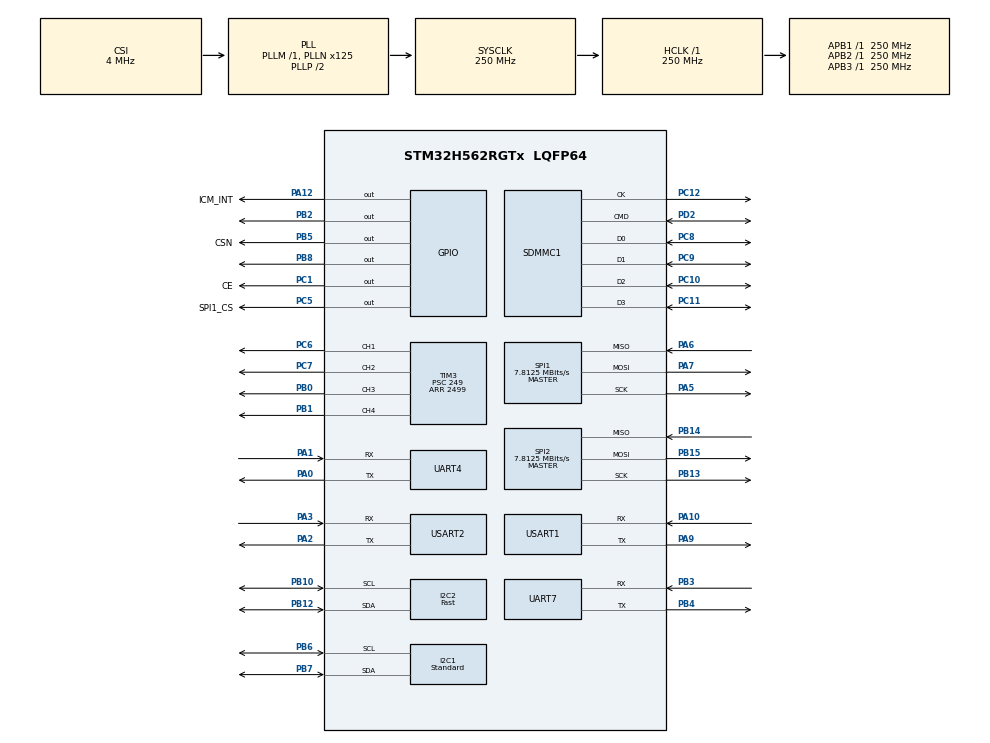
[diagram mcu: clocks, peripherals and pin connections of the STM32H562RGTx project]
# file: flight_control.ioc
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BOOTPATH.BootPathName=LEGACY
BOOTPATH.UserSelectedBootPath=LEGACY
CORTEX_M33_NS.userName=CORTEX_M33
FILEX.FX_DRIVER_SDMMC_INIT=0
FILEX.FX_ENABLE_EXFAT=1
FILEX.FX_SD_INTERFACE=1
GPDMA1.DESTINC_GPDMACH0=DMA_DINC_INCREMENTED
GPDMA1.DESTINC_GPDMACH1=DMA_DINC_INCREMENTED
GPDMA1.DESTINC_GPDMACH2=DMA_DINC_INCREMENTED
GPDMA1.IPHANDLE_GPDMACH0-SIMPLEREQUEST_GPDMACH0=__NULL
GPDMA1.IPHANDLE_GPDMACH1-SIMPLEREQUEST_GPDMACH1=__NULL
GPDMA1.IPHANDLE_GPDMACH2-SIMPLEREQUEST_GPDMACH2=__NULL
GPDMA1.PRIORITY_GPDMACH0=DMA_LOW_PRIORITY_MID_WEIGHT
GPDMA1.PRIORITY_GPDMACH2=DMA_LOW_PRIORITY_MID_WEIGHT
GPDMA1.RECAP_GPDMACH0=GPDMA1_REQUEST_USART1_RX
GPDMA1.REQUEST_GPDMACH0=GPDMA1_REQUEST_USART1_RX
GPDMA1.REQUEST_GPDMACH1=GPDMA1_REQUEST_UART7_RX
GPDMA1.REQUEST_GPDMACH2=GPDMA1_REQUEST_USART2_RX
GPDMA2.DESTINC_GPDMACH0=DMA_DINC_INCREMENTED
GPDMA2.DIRECTION_GPDMACH0=DMA_PERIPH_TO_MEMORY
GPDMA2.DIRECTION_GPDMACH1=DMA_MEMORY_TO_PERIPH
GPDMA2.IPHANDLE_GPDMACH0-SIMPLEREQUEST_GPDMACH0=__NULL
GPDMA2.IPHANDLE_GPDMACH1-SIMPLEREQUEST_GPDMACH1=__NULL
GPDMA2.REQUEST_GPDMACH0=GPDMA2_REQUEST_I2C1_RX
GPDMA2.REQUEST_GPDMACH1=GPDMA2_REQUEST_UART7_TX
GPDMA2.SRCINC_GPDMACH0=DMA_SINC_FIXED
GPDMA2.SRCINC_GPDMACH1=DMA_SINC_INCREMENTED
I2C1.I2C_Speed_Mode=I2C_Standard
I2C1.Timing=0x60808CD3
I2C2.I2C_Speed_Mode=I2C_Fast
I2C2.Timing=0x00300F38
Mcu.Family=STM32H5
Mcu.Name=STM32H562RGTx
Mcu.Package=LQFP64
NVIC.GPDMA1_Channel0_IRQn=true\:0\:0\:false\:false\:true\:false\:true\:true
NVIC.GPDMA1_Channel1_IRQn=true\:0\:0\:false\:false\:true\:false\:true\:true
NVIC.GPDMA1_Channel2_IRQn=true\:0\:0\:false\:false\:true\:false\:true\:true
NVIC.GPDMA2_Channel0_IRQn=true\:0\:0\:false\:false\:true\:false\:true\:true
NVIC.GPDMA2_Channel1_IRQn=true\:0\:0\:false\:false\:true\:false\:true\:true
NVIC.I2C1_ER_IRQn=true\:0\:0\:false\:false\:true\:true\:true\:true
NVIC.I2C1_EV_IRQn=true\:0\:0\:false\:false\:true\:true\:true\:true
NVIC.PriorityGroup=NVIC_PRIORITYGROUP_4
NVIC.SDMMC1_IRQn=true\:0\:0\:false\:false\:true\:true\:true\:true
NVIC.TIM6_IRQn=true\:0\:0\:false\:false\:true\:true\:true\:true
NVIC.UART4_IRQn=true\:0\:0\:false\:false\:true\:true\:true\:true
NVIC.UART7_IRQn=true\:0\:0\:false\:false\:true\:true\:true\:true
NVIC.USART1_IRQn=true\:0\:0\:false\:false\:true\:true\:true\:true
NVIC.USART2_IRQn=true\:0\:0\:false\:false\:true\:true\:true\:true
PA0.Mode=Asynchronous
PA0.Signal=UART4_TX
PA1.Mode=Asynchronous
PA1.Signal=UART4_RX
PA10.Mode=Asynchronous
PA10.Signal=USART1_RX
PA12.GPIO_Label=ICM_INT
PA12.Signal=GPIO_Output
PA2.Mode=Asynchronous
PA2.Signal=USART2_TX
PA3.Mode=Asynchronous
PA3.Signal=USART2_RX
PA5.GPIO_Speed=GPIO_SPEED_FREQ_VERY_HIGH
PA5.Mode=Full_Duplex_Master
PA5.Signal=SPI1_SCK
PA6.GPIO_PuPd=GPIO_PULLUP
PA6.GPIO_Speed=GPIO_SPEED_FREQ_VERY_HIGH
PA6.Mode=Full_Duplex_Master
PA6.Signal=SPI1_MISO
PA7.GPIO_Speed=GPIO_SPEED_FREQ_VERY_HIGH
PA7.Mode=Full_Duplex_Master
PA7.Signal=SPI1_MOSI
PA9.Mode=Asynchronous
PA9.Signal=USART1_TX
PB0.Signal=S_TIM3_CH3
PB1.Signal=S_TIM3_CH4
PB10.Mode=I2C
PB10.Signal=I2C2_SCL
PB12.Mode=I2C
PB12.Signal=I2C2_SDA
PB13.GPIO_Speed=GPIO_SPEED_FREQ_VERY_HIGH
PB13.Mode=Full_Duplex_Master
PB13.Signal=SPI2_SCK
PB14.GPIO_Speed=GPIO_SPEED_FREQ_VERY_HIGH
PB14.Mode=Full_Duplex_Master
PB14.Signal=SPI2_MISO
PB15.GPIO_Speed=GPIO_SPEED_FREQ_VERY_HIGH
PB15.Mode=Full_Duplex_Master
PB15.Signal=SPI2_MOSI
PB2.Signal=GPIO_Output
PB3(JTDO/TRACESWO).Mode=Asynchronous
PB3(JTDO/TRACESWO).Signal=UART7_RX
PB4(NJTRST).Mode=Asynchronous
PB4(NJTRST).Signal=UART7_TX
PB5.GPIO_Label=CSN
PB5.Signal=GPIO_Output
PB6.Mode=I2C
PB6.Signal=I2C1_SCL
PB7.Mode=I2C
PB7.Signal=I2C1_SDA
PB8.Signal=GPIO_Output
PC1.GPIO_Label=CE
PC1.Signal=GPIO_Output
PC10.Mode=SD_4_bits_Wide_bus
PC10.Signal=SDMMC1_D2
PC11.Mode=SD_4_bits_Wide_bus
PC11.Signal=SDMMC1_D3
PC12.Mode=SD_4_bits_Wide_bus
PC12.Signal=SDMMC1_CK
PC5.GPIO_Label=SPI1_CS
PC5.Signal=GPIO_Output
PC6.Signal=S_TIM3_CH1
PC7.Signal=S_TIM3_CH2
PC8.Mode=SD_4_bits_Wide_bus
PC8.Signal=SDMMC1_D0
PC9.Mode=SD_4_bits_Wide_bus
PC9.Signal=SDMMC1_D1
PD2.Mode=SD_4_bits_Wide_bus
PD2.Signal=SDMMC1_CMD
PH0-OSC_IN(PH0).Mode=HSE-External-Oscillator
PH0-OSC_IN(PH0).Signal=RCC_OSC_IN
PH1-OSC_OUT(PH1).Mode=HSE-External-Oscillator
PH1-OSC_OUT(PH1).Signal=RCC_OSC_OUT
ProjectManager.HeapSize=0x200
ProjectManager.StackSize=0x400
ProjectManager.TargetToolchain=STM32CubeIDE
RCC.ADCFreq_Value=250000000
RCC.AHBFreq_Value=250000000
RCC.APB1Freq_Value=250000000
RCC.APB1TimFreq_Value=250000000
RCC.APB2Freq_Value=250000000
RCC.APB2TimFreq_Value=250000000
RCC.APB3Freq_Value=250000000
RCC.CSI_VALUE=4000000
RCC.CortexFreq_Value=250000000
RCC.EPOD_VALUE=4000000
RCC.HCLKFreq_Value=250000000
RCC.HSE_VALUE=25000000
RCC.HSI48_VALUE=48000000
RCC.HSI_VALUE=64000000
RCC.I2C2CLockSelection=RCC_I2C2CLKSOURCE_HSI
RCC.LSE_VALUE=32768
RCC.LSIRC_VALUE=32000
RCC.PLL1Q=4
RCC.PLL2FRACN=0
RCC.PLL3FRACN=0
RCC.PLLFRACN=0
RCC.PLLN=125
RCC.SYSCLKFreq_VALUE=250000000
RCC.SYSCLKSource=RCC_SYSCLKSOURCE_PLLCLK
RCC.USBFreq_Value=48000000
RCC.VCOOutputFreq_Value=500000000
SH.S_TIM3_CH1.0=TIM3_CH1,PWM Generation1 CH1
SH.S_TIM3_CH2.0=TIM3_CH2,PWM Generation2 CH2
SH.S_TIM3_CH3.0=TIM3_CH3,PWM Generation3 CH3
SH.S_TIM3_CH4.0=TIM3_CH4,PWM Generation4 CH4
SPI1.BaudRatePrescaler=SPI_BAUDRATEPRESCALER_16
SPI1.CLKPhase=SPI_PHASE_1EDGE
SPI1.CalculateBaudRate=7.8125 MBits/s
SPI1.DataSize=SPI_DATASIZE_8BIT
SPI1.Direction=SPI_DIRECTION_2LINES
SPI1.Mode=SPI_MODE_MASTER
SPI1.NSSPMode=SPI_NSS_PULSE_DISABLE
SPI1.VirtualType=VM_MASTER
SPI2.BaudRatePrescaler=SPI_BAUDRATEPRESCALER_16
SPI2.CalculateBaudRate=7.8125 MBits/s
SPI2.DataSize=SPI_DATASIZE_8BIT
SPI2.Direction=SPI_DIRECTION_2LINES
SPI2.Mode=SPI_MODE_MASTER
SPI2.NSSPMode=SPI_NSS_PULSE_DISABLE
SPI2.VirtualType=VM_MASTER
TIM3.AutoReloadPreload=TIM_AUTORELOAD_PRELOAD_ENABLE
TIM3.Channel-PWM\ Generation1\ CH1=TIM_CHANNEL_1
TIM3.Channel-PWM\ Generation2\ CH2=TIM_CHANNEL_2
TIM3.Channel-PWM\ Generation3\ CH3=TIM_CHANNEL_3
TIM3.Channel-PWM\ Generation4\ CH4=TIM_CHANNEL_4
TIM3.OCFastMode_PWM-PWM\ Generation2\ CH2=TIM_OCFAST_DISABLE
TIM3.PeriodNoDither=2499
TIM3.Prescaler=249
TIM3.PulseNoDither_1=1000
TIM3.PulseNoDither_2=1000
TIM3.PulseNoDither_3=1000
TIM3.PulseNoDither_4=1000
TIM6.AutoReloadPreload=TIM_AUTORELOAD_PRELOAD_DISABLE
TIM6.PeriodNoDither=1999
TIM6.Prescaler=249
USART1.VirtualMode-Asynchronous=VM_ASYNC
USART2.VirtualMode-Asynchronous=VM_ASYNC
VP_BOOTPATH_VS_BOOTPATH.Mode=BP_Activate
VP_CORTEX_M33_NS_VS_Hclk.Mode=Hclk_Mode
VP_FILEX_VS_FileOoSystemJjFileXJjCore.Mode=FileX_Core
VP_FILEX_VS_SDOointerface.Mode=SD_interface
VP_GPDMA1_VS_GPDMACH0.Mode=SIMPLEREQUEST_GPDMACH0
VP_GPDMA1_VS_GPDMACH1.Mode=SIMPLEREQUEST_GPDMACH1
VP_GPDMA1_VS_GPDMACH2.Mode=SIMPLEREQUEST_GPDMACH2
VP_GPDMA2_VS_GPDMACH0.Mode=SIMPLEREQUEST_GPDMACH0
VP_GPDMA2_VS_GPDMACH1.Mode=SIMPLEREQUEST_GPDMACH1
VP_ICACHE_VS_ICACHE.Mode=DefaultMode
VP_MEMORYMAP_VS_MEMORYMAP.Mode=CurAppReg
VP_PWR_VS_LPOM.Mode=PowerOptimisation
VP_PWR_VS_SECSignals.Mode=Security/Privilege
VP_TIM3_VS_ClockSourceINT.Mode=Internal
VP_TIM6_VS_ClockSourceINT.Mode=Enable_Timer
board=custom

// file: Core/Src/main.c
/* USER CODE BEGIN Header */
/**
 ******************************************************************************
 * @file           : main.c
 * @brief          : Main program body
 ******************************************************************************
 * @attention
 *
 * Copyright (c) 2026 STMicroelectronics.
 * All rights reserved.
 *
 * This software is licensed under terms that can be found in the LICENSE file
 * in the root directory of this software component.
 * If no LICENSE file comes with this software, it is provided AS-IS.
 *
 *
 * ======Body frame of DRONE========
 *
 *           +X (Front)
 ↑
 │
 -Y (Left) ◄──┼──► +Y (Right)
 │
 ▼
 Rear
 *
 *===== AXis of Optical Flow====
 *          Front
 ↑
 │
 Vy <0 │
 │
 Left ◄──────┼──────► Right
 Vx <0  │        Vx >0
 │
 Vy >0 │
 ▼
 Rear
 ******************************************************************************
 */
/* USER CODE END Header */
#include "main.h"
#include "app_filex.h"

/* USER CODE BEGIN Includes */
#include "types.h"
#include "flight_control.h"
#include "pos_hold.h"
#include "nrf.h"
#include "icm20602.h"
#include "dsp310.h"
#include "ina219.h"
#include "mtf01.h"
#include "gps.h"
#include "mission.h"
#include "dwt.h"
#include "serial.h"
#include "uart_cmd.h"
#include "log.h"
#include <stdio.h>
#include <string.h>
#include <stdbool.h>

/* USER CODE END Includes */

/* USER CODE BEGIN PD */
//#define USE_QMC5883
#define USE_IST8310
/* USER CODE END PD */

I2C_HandleTypeDef hi2c1;
I2C_HandleTypeDef hi2c2;
DMA_HandleTypeDef handle_GPDMA2_Channel0;

SD_HandleTypeDef hsd1;

SPI_HandleTypeDef hspi1;
SPI_HandleTypeDef hspi2;

TIM_HandleTypeDef htim3;
TIM_HandleTypeDef htim6;

UART_HandleTypeDef huart4;
UART_HandleTypeDef huart7;
UART_HandleTypeDef huart1;
UART_HandleTypeDef huart2;
DMA_HandleTypeDef handle_GPDMA1_Channel1;
DMA_HandleTypeDef handle_GPDMA2_Channel1;
DMA_HandleTypeDef handle_GPDMA1_Channel0;
DMA_HandleTypeDef handle_GPDMA1_Channel2;

void SystemClock_Config(void);
static void MX_GPIO_Init(void);
static void MX_GPDMA1_Init(void);
static void MX_GPDMA2_Init(void);
static void MX_TIM3_Init(void);
static void MX_I2C1_Init(void);
static void MX_I2C2_Init(void);
static void MX_SPI1_Init(void);
static void MX_UART4_Init(void);
static void MX_USART1_UART_Init(void);
static void MX_USART2_UART_Init(void);
static void MX_ICACHE_Init(void);
static void MX_UART7_Init(void);
static void MX_TIM6_Init(void);
static void MX_SPI2_Init(void);
static void MX_SDMMC1_SD_Init(void);

/* USER CODE BEGIN 0 */

uint8_t address[5] = { '0', '0', '0', '0', '1' };

GPS_Data_t gps;
MTF01_t mtf_data;
uint8_t mtf01_updated = 0;
uint8_t rx_mission_buffer[MISSION_BUFFER_SIZE];
volatile uint8_t pid_flag = 0;
FlightLogData_t log_data;

void HAL_UART_RxCpltCallback(UART_HandleTypeDef *huart) {
	if (huart->Instance == UART7) {
		UART_CMD_Process(&huart7);
//		GPS_UART_RxCallback(&huart1);
	}

//	if (huart->Instance == USART2) {
//		MTF01_Process(&huart2);
//	}

//	GPS_UART_RxCallback(&huart1);
//	if (huart->Instance == USART1) {
//		// CHÌA KHÓA Ở ĐÂY: Chỉ cho phép lưu data khi mảng đang rảnh (line_ready == 0)
//		if (line_ready == 0) {
//			raw_gps_buffer[raw_index++] = rx_byte;
//
//			// Nếu gặp ký tự xuống dòng hoặc mảng sắp tràn
//			if (rx_byte == '\n' || raw_index >= 119) {
//				raw_gps_buffer[raw_index] = '\0'; // Chốt chuỗi
//				line_ready = 1;             // Khóa mảng lại, báo cho main xử lý
//			}
//		}
//
//		// Vẫn phải mồi lại ngắt (dù có lưu vào mảng hay không) để tránh ORE
//		HAL_UART_Receive_IT(&huart1, &rx_byte, 1);
//	}
}
// Hàm Callback mặc định của HAL cho sự kiện Receive To IDLE
void HAL_UARTEx_RxEventCallback(UART_HandleTypeDef *huart, uint16_t Size) {
	// Đẩy sự kiện sang cho hàm xử lý của ta bên file gps.c
	GPS_UART_RxEventCallback(huart, Size);
	if (huart->Instance == USART2) {
		MTF01_UART_RxEventCallback(huart, Size);
	}

	if (huart->Instance == UART7) {
		// Gọi trực tiếp hàm xử lý đã đóng gói trong mission.c
		Mission_UartRxHandler(huart, Size);
	}
}

void HAL_UART_ErrorCallback(UART_HandleTypeDef *huart) {
	// Kiểm tra xem lỗi có xuất phát từ UART của GPS không
	GPS_UART_ErrorCallback(huart);
	MTF01_UART_ErrorCallback(huart);
	Mission_UART_ErrorCallback(huart);
}

void HAL_TIM_PeriodElapsedCallback(TIM_HandleTypeDef *htim) {
	if (htim->Instance == TIM6) {
		pid_flag = 1;
	}

}

// Callback khi nhận thành công qua I2C Interrupt
void HAL_I2C_MemRxCpltCallback(I2C_HandleTypeDef *hi2c) {
	DSP310_I2C_MemRxCpltCallback(hi2c);
}

// Hàm cực kỳ quan trọng để chống giật/rơi máy bay khi lỏng dây
void HAL_I2C_ErrorCallback(I2C_HandleTypeDef *hi2c) {
	// Nếu có lỗi (như lỏng dây, mất ACK), ta reset lại khối I2C đó
//	HAL_I2C_DeInit(hi2c);
//	HAL_I2C_Init(hi2c);
	DSP310_I2C_ErrorCallback(hi2c);
}

// ================= TEST SD CARD =====
UINT Test_SDCard_Write(void) {
	UINT status;
	static FX_MEDIA sdio_disk;
	static FX_FILE my_file;
	HAL_SD_CardInfoTypeDef CardInfo;

	// Bộ đệm cho FileX Media (căn lề 32 bytes cho Cortex-M)
	ALIGN_32BYTES(static uint8_t media_memory[FX_STM32_SD_DEFAULT_SECTOR_SIZE]);

	// Bật ngắt SDMMC1
	HAL_NVIC_SetPriority(SDMMC1_IRQn, 5, 0);
	HAL_NVIC_EnableIRQ(SDMMC1_IRQn);

	Serial_printf(&huart1, "\r\n[SD] Bat dau kiem tra the microSD...\r\n");

	// 0. Kiểm tra thông tin phần cứng thẻ nhớ
	if (HAL_SD_GetCardInfo(&hsd1, &CardInfo) == HAL_OK) {
		uint32_t capacity_mb = (uint32_t) ((uint64_t) CardInfo.BlockNbr
				* CardInfo.BlockSize / (1024 * 1024));
		Serial_printf(&huart1,
				"[SD HW] Nhan the thanh cong! Dung luong: %lu MB, BlockNbr: %lu\r\n",
				capacity_mb, CardInfo.BlockNbr);
	} else {
		Serial_printf(&huart1, "[SD HW ERROR] Khong lay duoc CardInfo!\r\n");
		return 1;
	}

	// 1. Mở thẻ nhớ
	status = fx_media_open(&sdio_disk, "STM32_SD_DISK", fx_stm32_sd_driver,
			(VOID *)FX_STM32_SD_INSTANCE, media_memory, sizeof(media_memory));

	if (status != FX_SUCCESS) {
		Serial_printf(&huart1,
				"[SD ERROR] fx_media_open that bai! Ma loi: 0x%02X\r\n",
				status);
		return status;
	}
	Serial_printf(&huart1, "[SD] fx_media_open thanh cong!\r\n");

	// 2. Tạo file test.txt
	status = fx_file_create(&sdio_disk, "test.txt");
	if (status != FX_SUCCESS && status != FX_ALREADY_CREATED) {
		Serial_printf(&huart1,
				"[SD ERROR] fx_file_create that bai! Ma loi: 0x%02X\r\n",
				status);
		fx_media_close(&sdio_disk);
		return status;
	}

	// 3. Mở file để ghi
	status = fx_file_open(&sdio_disk, &my_file, "test.txt", FX_OPEN_FOR_WRITE);
	if (status != FX_SUCCESS) {
		Serial_printf(&huart1,
				"[SD ERROR] fx_file_open that bai! Ma loi: 0x%02X\r\n", status);
		fx_media_close(&sdio_disk);
		return status;
	}

	// Di chuyển con trỏ xuống cuối file
	fx_file_seek(&my_file, my_file.fx_file_current_file_size);

	// 4. Ghi dữ liệu
	char write_buf[] =
			"Hello STM32H5! Ghi file vao the nho qua FileX thanh cong!\r\n";
	status = fx_file_write(&my_file, write_buf, strlen(write_buf));
	if (status != FX_SUCCESS) {
		Serial_printf(&huart1,
				"[SD ERROR] fx_file_write that bai! Ma loi: 0x%02X\r\n",
				status);
	} else {
		Serial_printf(&huart1, "[SD OK] Da ghi vao test.txt: %s", write_buf);
	}

	// 5. Đóng file và đẩy dữ liệu xuống chip nhớ
	fx_file_close(&my_file);
	fx_media_flush(&sdio_disk);
	fx_media_close(&sdio_disk);

	Serial_printf(&huart1, "[SD] Hoan tat test!\r\n");
	return status;
}

/* USER CODE END 0 */

int main(void) {

	/* MCU Configuration--------------------------------------------------------*/

	/* Reset of all peripherals, Initializes the Flash interface and the Systick. */
	HAL_Init();

	/* Configure the system clock */
	SystemClock_Config();

	/* Initialize all configured peripherals */
	MX_GPIO_Init();
	MX_GPDMA1_Init();
	MX_GPDMA2_Init();
	MX_TIM3_Init();
	MX_I2C1_Init();
	MX_I2C2_Init();
	MX_SPI1_Init();
	MX_UART4_Init();
	MX_USART1_UART_Init();
	MX_USART2_UART_Init();
	MX_ICACHE_Init();
	MX_UART7_Init();
	MX_TIM6_Init();
	MX_SPI2_Init();
	MX_SDMMC1_SD_Init();
	MX_FileX_Init();
	/* USER CODE BEGIN 2 */
	// TEST SD CARD
	HAL_TIM_PWM_Init(&htim3);
	HAL_TIM_PWM_Start(&htim3, TIM_CHANNEL_1);
	HAL_TIM_PWM_Start(&htim3, TIM_CHANNEL_2);
	HAL_TIM_PWM_Start(&htim3, TIM_CHANNEL_3);
	HAL_TIM_PWM_Start(&htim3, TIM_CHANNEL_4);

	HAL_TIM_Base_Start_IT(&htim6);

	GPS_Init_DMA(&huart1);
	MTF01_Init(&huart2);

	// Khoi tao he thong ghi flight log vao the nho microSD (FAT32)
	Log_Init();

	HAL_I2C_Init(&hi2c1);
	HAL_I2C_Init(&hi2c2);
#ifdef USE_QMC5883
	extern QMC5883_t mag;
	QMC5883_Init(&hi2c2, &mag, 0x00, 0x01, 0x03, 0x01);
#else
	IST8310_Init(&hi2c2, &ist8310);
#endif
	HAL_SPI_Init(&hspi1);
	HAL_SPI_Init(&hspi2);
	ICM_CS_HIGH();
	NRF_CSN_HIGH();
	HAL_Delay(10);

	NRF24_Init();
	NRF24_OpenReadingPipe(0, address);
	NRF24_StartListening();

	HAL_Delay(500);
	DWT_Init();

	ICM20602_Init();
#ifdef USE_QMC5883
	mag.declination = 0;
#endif

	INA219_Init(&hi2c2);

	FlightControl_Init();
	PosHold_Init();

	Mission_UART_Init(&huart7);
	HAL_UARTEx_ReceiveToIdle_DMA(&huart7, rx_mission_buffer,
	MISSION_BUFFER_SIZE);

	if (!DSP310_Init(&dsp_sensor, &hi2c1)) {
		Serial_printf(&huart1, "DSP Init Failed!\r\n");
	} else
		Serial_printf(&huart1, "[OK] DSP Init Successful!\r\n");

	alt_offset = DSP_CalibrationAltitude(10);	// Lấy 10 sample
	// ĐỢI đến khi lấy được 1 mẫu hợp lệ thì mới khởi tạo Kalman
	while (!DSP310_Read(&dsp_sensor)) {
		HAL_Delay(1);
	}
	float h = dsp_sensor.altitude;
	Kalman4D_Init(&kf_4d, (h - alt_offset) * 100);
	Kalman2D_Init(&kf_2d, (h - alt_offset) * 100);

	calibIMU();

	bool yaw_hold_init = false;

	Serial_printf(&huart1, "[WAITING] Waiting pull throttle to 0!\r\n");
	while (1) {
		if (NRF24_Available()) {
			uint8_t len = NRF24_GetDynamicPayloadSize();
			if (len == sizeof(ControlData)) {
				NRF24_Read((uint8_t*) &rxData, len);
				if (rxData.chinhtocdoquat == 1000)
					break;
			}
		}
	}
	uint32_t ina219_timer = 0;
	uint32_t esp_timer = 0;

	HAL_GPIO_WritePin(GPIOB, GPIO_PIN_2, 0);
	Serial_printf(&huart1, "[CALIB] IST8310\r\n");
//	IST8310_Calibrate(&hi2c2, 60000);
	Serial_printf(&huart1, "[OK] START\r\n");
	/* USER CODE END 2 */

	/* Infinite loop */
	while (1) {

		/* USER CODE BEGIN 3 */
		static uint32_t last_start = 0;
		uint32_t start = DWT_GetMicros();
//		float dt_loop = (last_start > 0) ? (float)(start - last_start) : 2000.0f;
//		last_start = start;

		dt = 0.002f;
		RxController();
		if (!yaw_hold_init && throttle > 1100) {
			target_yaw = yaw;
			// home_position = gpsRead();
			yaw_hold_init = true;
		}
		if (throttle < 1030) {
			yaw_hold_init = false;
			target_yaw = yaw;
		}
		if (throttle < 1400) {
			PID_Reset(&PID_Rate_Yaw);
			PID_Reset(&PID_Rate_Pitch);
			PID_Reset(&PID_Rate_Roll);
			PID_Reset(&PID_Angle);
			PID_Reset(&PID_Pos_X);
			PID_Reset(&PID_Pos_Y);
			PID_Reset(&PID_Vel_X);
			PID_Reset(&PID_Vel_Y);
		}
		mtf01_updated = MTF01_Update(&mtf_data);

		GPS_Process(&gps);
		readIMU();
		calculateAngle(dt);
		Estimate_Position_GPS_Kalman(dt);
//		Estimate_Position_Kalman(dt);
//		Estimate_Position(dt);

		PID_Task(dt);
		mixer();
		if (DWT_GetMicros() - ina219_timer > 1000000) {
			float voltage = INA219_Read_Bus_Voltage(&hi2c2);
			if (voltage >= 0.0f) {
				txData.battery = voltage;
			}
			ina219_timer = DWT_GetMicros();
		}
		if (DWT_GetMicros() - esp_timer > 2000000) {
			Mission_SendTelemetry();
			esp_timer = DWT_GetMicros();
		}

		// ================= GHI LOG BENCHMARK VÀO RAM (50 Hz) =================
		static uint8_t log_divider = 0;
		if (++log_divider >= 10) // 500Hz / 10 = 50Hz (20ms/mẫu)
				{
			log_divider = 0;
			log_data.time_ms = HAL_GetTick();
			FLight_Control_Log();
		}

		// Tự động lưu xuống thẻ SD khi hạ cánh (throttle < 1030)
		Log_Check_Auto_Save();
		// =====================================================================

		// In chu kỳ thực tế DT ra Python App (In trước dòng while để thời gian truyền UART được bù trừ trong 2000 us)

		while ((DWT_GetMicros() - start) < 2000)
			;
//		Serial_printf(&huart1, "%f\r\n", DWT_GetMicros() - start);

//		float time = DWT_GetMicros() - start;
//		Serial_printf(&huart1, "%f\r\n", time);
	}
	/* USER CODE END 3 */
}

void SystemClock_Config(void) {
	RCC_OscInitTypeDef RCC_OscInitStruct = { 0 };
	RCC_ClkInitTypeDef RCC_ClkInitStruct = { 0 };

	/** Configure the main internal regulator output voltage
	 */
	__HAL_PWR_VOLTAGESCALING_CONFIG(PWR_REGULATOR_VOLTAGE_SCALE0);

	while (!__HAL_PWR_GET_FLAG(PWR_FLAG_VOSRDY)) {
	}

	/** Initializes the RCC Oscillators according to the specified parameters
	 * in the RCC_OscInitTypeDef structure.
	 */
	RCC_OscInitStruct.OscillatorType = RCC_OSCILLATORTYPE_HSI
			| RCC_OSCILLATORTYPE_CSI;
	RCC_OscInitStruct.HSIState = RCC_HSI_ON;
	RCC_OscInitStruct.HSIDiv = RCC_HSI_DIV2;
	RCC_OscInitStruct.HSICalibrationValue = RCC_HSICALIBRATION_DEFAULT;
	RCC_OscInitStruct.CSIState = RCC_CSI_ON;
	RCC_OscInitStruct.CSICalibrationValue = RCC_CSICALIBRATION_DEFAULT;
	RCC_OscInitStruct.PLL.PLLState = RCC_PLL_ON;
	RCC_OscInitStruct.PLL.PLLSource = RCC_PLL1_SOURCE_CSI;
	RCC_OscInitStruct.PLL.PLLM = 1;
	RCC_OscInitStruct.PLL.PLLN = 125;
	RCC_OscInitStruct.PLL.PLLP = 2;
	RCC_OscInitStruct.PLL.PLLQ = 4;
	RCC_OscInitStruct.PLL.PLLR = 2;
	RCC_OscInitStruct.PLL.PLLRGE = RCC_PLL1_VCIRANGE_2;
	RCC_OscInitStruct.PLL.PLLVCOSEL = RCC_PLL1_VCORANGE_WIDE;
	RCC_OscInitStruct.PLL.PLLFRACN = 0;
	if (HAL_RCC_OscConfig(&RCC_OscInitStruct) != HAL_OK) {
		Error_Handler();
	}

	/** Initializes the CPU, AHB and APB buses clocks
	 */
	RCC_ClkInitStruct.ClockType = RCC_CLOCKTYPE_HCLK | RCC_CLOCKTYPE_SYSCLK
			| RCC_CLOCKTYPE_PCLK1 | RCC_CLOCKTYPE_PCLK2 | RCC_CLOCKTYPE_PCLK3;
	RCC_ClkInitStruct.SYSCLKSource = RCC_SYSCLKSOURCE_PLLCLK;
	RCC_ClkInitStruct.AHBCLKDivider = RCC_SYSCLK_DIV1;
	RCC_ClkInitStruct.APB1CLKDivider = RCC_HCLK_DIV1;
	RCC_ClkInitStruct.APB2CLKDivider = RCC_HCLK_DIV1;
	RCC_ClkInitStruct.APB3CLKDivider = RCC_HCLK_DIV1;

	if (HAL_RCC_ClockConfig(&RCC_ClkInitStruct, FLASH_LATENCY_5) != HAL_OK) {
		Error_Handler();
	}

	/** Configure the programming delay
	 */
	__HAL_FLASH_SET_PROGRAM_DELAY(FLASH_PROGRAMMING_DELAY_2);
}

static void MX_GPDMA1_Init(void) {

	/* Peripheral clock enable */
	__HAL_RCC_GPDMA1_CLK_ENABLE();

	/* GPDMA1 interrupt Init */
	HAL_NVIC_SetPriority(GPDMA1_Channel0_IRQn, 0, 0);
	HAL_NVIC_EnableIRQ(GPDMA1_Channel0_IRQn);
	HAL_NVIC_SetPriority(GPDMA1_Channel1_IRQn, 0, 0);
	HAL_NVIC_EnableIRQ(GPDMA1_Channel1_IRQn);
	HAL_NVIC_SetPriority(GPDMA1_Channel2_IRQn, 0, 0);
	HAL_NVIC_EnableIRQ(GPDMA1_Channel2_IRQn);

}

static void MX_GPDMA2_Init(void) {

	/* Peripheral clock enable */
	__HAL_RCC_GPDMA2_CLK_ENABLE();

	/* GPDMA2 interrupt Init */
	HAL_NVIC_SetPriority(GPDMA2_Channel0_IRQn, 0, 0);
	HAL_NVIC_EnableIRQ(GPDMA2_Channel0_IRQn);
	HAL_NVIC_SetPriority(GPDMA2_Channel1_IRQn, 0, 0);
	HAL_NVIC_EnableIRQ(GPDMA2_Channel1_IRQn);

}

static void MX_I2C1_Init(void) {

	hi2c1.Instance = I2C1;
	hi2c1.Init.Timing = 0x60808CD3;
	hi2c1.Init.OwnAddress1 = 0;
	hi2c1.Init.AddressingMode = I2C_ADDRESSINGMODE_7BIT;
	hi2c1.Init.DualAddressMode = I2C_DUALADDRESS_DISABLE;
	hi2c1.Init.OwnAddress2 = 0;
	hi2c1.Init.OwnAddress2Masks = I2C_OA2_NOMASK;
	hi2c1.Init.GeneralCallMode = I2C_GENERALCALL_DISABLE;
	hi2c1.Init.NoStretchMode = I2C_NOSTRETCH_DISABLE;
	if (HAL_I2C_Init(&hi2c1) != HAL_OK) {
		Error_Handler();
	}

	/** Configure Analogue filter
	 */
	if (HAL_I2CEx_ConfigAnalogFilter(&hi2c1, I2C_ANALOGFILTER_ENABLE)
			!= HAL_OK) {
		Error_Handler();
	}

	/** Configure Digital filter
	 */
	if (HAL_I2CEx_ConfigDigitalFilter(&hi2c1, 0) != HAL_OK) {
		Error_Handler();
	}

}

static void MX_I2C2_Init(void) {

	hi2c2.Instance = I2C2;
	hi2c2.Init.Timing = 0x00300F38;
	hi2c2.Init.OwnAddress1 = 0;
	hi2c2.Init.AddressingMode = I2C_ADDRESSINGMODE_7BIT;
	hi2c2.Init.DualAddressMode = I2C_DUALADDRESS_DISABLE;
	hi2c2.Init.OwnAddress2 = 0;
	hi2c2.Init.OwnAddress2Masks = I2C_OA2_NOMASK;
	hi2c2.Init.GeneralCallMode = I2C_GENERALCALL_DISABLE;
	hi2c2.Init.NoStretchMode = I2C_NOSTRETCH_DISABLE;
	if (HAL_I2C_Init(&hi2c2) != HAL_OK) {
		Error_Handler();
	}

	/** Configure Analogue filter
	 */
	if (HAL_I2CEx_ConfigAnalogFilter(&hi2c2, I2C_ANALOGFILTER_ENABLE)
			!= HAL_OK) {
		Error_Handler();
	}

	/** Configure Digital filter
	 */
	if (HAL_I2CEx_ConfigDigitalFilter(&hi2c2, 0) != HAL_OK) {
		Error_Handler();
	}

}

static void MX_ICACHE_Init(void) {

	/** Enable instruction cache (default 2-ways set associative cache)
	 */
	if (HAL_ICACHE_Enable() != HAL_OK) {
		Error_Handler();
	}

}

static void MX_SDMMC1_SD_Init(void) {

	hsd1.Instance = SDMMC1;
	hsd1.Init.ClockEdge = SDMMC_CLOCK_EDGE_RISING;
	hsd1.Init.ClockPowerSave = SDMMC_CLOCK_POWER_SAVE_DISABLE;
	hsd1.Init.BusWide = SDMMC_BUS_WIDE_4B;
	hsd1.Init.HardwareFlowControl = SDMMC_HARDWARE_FLOW_CONTROL_DISABLE;
	hsd1.Init.ClockDiv = 0;
	if (HAL_SD_Init(&hsd1) != HAL_OK) {
		Error_Handler();
	}

}

static void MX_SPI1_Init(void) {

	/* SPI1 parameter configuration*/
	hspi1.Instance = SPI1;
	hspi1.Init.Mode = SPI_MODE_MASTER;
	hspi1.Init.Direction = SPI_DIRECTION_2LINES;
	hspi1.Init.DataSize = SPI_DATASIZE_8BIT;
	hspi1.Init.CLKPolarity = SPI_POLARITY_LOW;
	hspi1.Init.CLKPhase = SPI_PHASE_1EDGE;
	hspi1.Init.NSS = SPI_NSS_SOFT;
	hspi1.Init.BaudRatePrescaler = SPI_BAUDRATEPRESCALER_16;
	hspi1.Init.FirstBit = SPI_FIRSTBIT_MSB;
	hspi1.Init.TIMode = SPI_TIMODE_DISABLE;
	hspi1.Init.CRCCalculation = SPI_CRCCALCULATION_DISABLE;
	hspi1.Init.CRCPolynomial = 0x7;
	hspi1.Init.NSSPMode = SPI_NSS_PULSE_DISABLE;
	hspi1.Init.NSSPolarity = SPI_NSS_POLARITY_LOW;
	hspi1.Init.FifoThreshold = SPI_FIFO_THRESHOLD_01DATA;
	hspi1.Init.MasterSSIdleness = SPI_MASTER_SS_IDLENESS_00CYCLE;
	hspi1.Init.MasterInterDataIdleness = SPI_MASTER_INTERDATA_IDLENESS_00CYCLE;
	hspi1.Init.MasterReceiverAutoSusp = SPI_MASTER_RX_AUTOSUSP_DISABLE;
	hspi1.Init.MasterKeepIOState = SPI_MASTER_KEEP_IO_STATE_DISABLE;
	hspi1.Init.IOSwap = SPI_IO_SWAP_DISABLE;
	hspi1.Init.ReadyMasterManagement = SPI_RDY_MASTER_MANAGEMENT_INTERNALLY;
	hspi1.Init.ReadyPolarity = SPI_RDY_POLARITY_HIGH;
	if (HAL_SPI_Init(&hspi1) != HAL_OK) {
		Error_Handler();
	}

}

static void MX_SPI2_Init(void) {

	/* SPI2 parameter configuration*/
	hspi2.Instance = SPI2;
	hspi2.Init.Mode = SPI_MODE_MASTER;
	hspi2.Init.Direction = SPI_DIRECTION_2LINES;
	hspi2.Init.DataSize = SPI_DATASIZE_8BIT;
	hspi2.Init.CLKPolarity = SPI_POLARITY_LOW;
	hspi2.Init.CLKPhase = SPI_PHASE_1EDGE;
	hspi2.Init.NSS = SPI_NSS_SOFT;
	hspi2.Init.BaudRatePrescaler = SPI_BAUDRATEPRESCALER_16;
	hspi2.Init.FirstBit = SPI_FIRSTBIT_MSB;
	hspi2.Init.TIMode = SPI_TIMODE_DISABLE;
	hspi2.Init.CRCCalculation = SPI_CRCCALCULATION_DISABLE;
	hspi2.Init.CRCPolynomial = 0x7;
	hspi2.Init.NSSPMode = SPI_NSS_PULSE_DISABLE;
	hspi2.Init.NSSPolarity = SPI_NSS_POLARITY_LOW;
	hspi2.Init.FifoThreshold = SPI_FIFO_THRESHOLD_01DATA;
	hspi2.Init.MasterSSIdleness = SPI_MASTER_SS_IDLENESS_00CYCLE;
	hspi2.Init.MasterInterDataIdleness = SPI_MASTER_INTERDATA_IDLENESS_00CYCLE;
	hspi2.Init.MasterReceiverAutoSusp = SPI_MASTER_RX_AUTOSUSP_DISABLE;
	hspi2.Init.MasterKeepIOState = SPI_MASTER_KEEP_IO_STATE_DISABLE;
	hspi2.Init.IOSwap = SPI_IO_SWAP_DISABLE;
	hspi2.Init.ReadyMasterManagement = SPI_RDY_MASTER_MANAGEMENT_INTERNALLY;
	hspi2.Init.ReadyPolarity = SPI_RDY_POLARITY_HIGH;
	if (HAL_SPI_Init(&hspi2) != HAL_OK) {
		Error_Handler();
	}

}

static void MX_TIM3_Init(void) {

	TIM_ClockConfigTypeDef sClockSourceConfig = { 0 };
	TIM_MasterConfigTypeDef sMasterConfig = { 0 };
	TIM_OC_InitTypeDef sConfigOC = { 0 };

	htim3.Instance = TIM3;
	htim3.Init.Prescaler = 249;
	htim3.Init.CounterMode = TIM_COUNTERMODE_UP;
	htim3.Init.Period = 2499;
	htim3.Init.ClockDivision = TIM_CLOCKDIVISION_DIV1;
	htim3.Init.AutoReloadPreload = TIM_AUTORELOAD_PRELOAD_ENABLE;
	if (HAL_TIM_Base_Init(&htim3) != HAL_OK) {
		Error_Handler();
	}
	sClockSourceConfig.ClockSource = TIM_CLOCKSOURCE_INTERNAL;
	if (HAL_TIM_ConfigClockSource(&htim3, &sClockSourceConfig) != HAL_OK) {
		Error_Handler();
	}
	if (HAL_TIM_PWM_Init(&htim3) != HAL_OK) {
		Error_Handler();
	}
	sMasterConfig.MasterOutputTrigger = TIM_TRGO_RESET;
	sMasterConfig.MasterSlaveMode = TIM_MASTERSLAVEMODE_DISABLE;
	if (HAL_TIMEx_MasterConfigSynchronization(&htim3, &sMasterConfig)
			!= HAL_OK) {
		Error_Handler();
	}
	sConfigOC.OCMode = TIM_OCMODE_PWM1;
	sConfigOC.Pulse = 1000;
	sConfigOC.OCPolarity = TIM_OCPOLARITY_HIGH;
	sConfigOC.OCFastMode = TIM_OCFAST_DISABLE;
	if (HAL_TIM_PWM_ConfigChannel(&htim3, &sConfigOC, TIM_CHANNEL_1)
			!= HAL_OK) {
		Error_Handler();
	}
	if (HAL_TIM_PWM_ConfigChannel(&htim3, &sConfigOC, TIM_CHANNEL_2)
			!= HAL_OK) {
		Error_Handler();
	}
	if (HAL_TIM_PWM_ConfigChannel(&htim3, &sConfigOC, TIM_CHANNEL_3)
			!= HAL_OK) {
		Error_Handler();
	}
	if (HAL_TIM_PWM_ConfigChannel(&htim3, &sConfigOC, TIM_CHANNEL_4)
			!= HAL_OK) {
		Error_Handler();
	}
	HAL_TIM_MspPostInit(&htim3);

}

static void MX_TIM6_Init(void) {

	TIM_MasterConfigTypeDef sMasterConfig = { 0 };

	htim6.Instance = TIM6;
	htim6.Init.Prescaler = 249;
	htim6.Init.CounterMode = TIM_COUNTERMODE_UP;
	htim6.Init.Period = 1999;
	htim6.Init.AutoReloadPreload = TIM_AUTORELOAD_PRELOAD_DISABLE;
	if (HAL_TIM_Base_Init(&htim6) != HAL_OK) {
		Error_Handler();
	}
	sMasterConfig.MasterOutputTrigger = TIM_TRGO_RESET;
	sMasterConfig.MasterSlaveMode = TIM_MASTERSLAVEMODE_DISABLE;
	if (HAL_TIMEx_MasterConfigSynchronization(&htim6, &sMasterConfig)
			!= HAL_OK) {
		Error_Handler();
	}

}

static void MX_UART4_Init(void) {

	huart4.Instance = UART4;
	huart4.Init.BaudRate = 115200;
	huart4.Init.WordLength = UART_WORDLENGTH_8B;
	huart4.Init.StopBits = UART_STOPBITS_1;
	huart4.Init.Parity = UART_PARITY_NONE;
	huart4.Init.Mode = UART_MODE_TX_RX;
	huart4.Init.HwFlowCtl = UART_HWCONTROL_NONE;
	huart4.Init.OverSampling = UART_OVERSAMPLING_16;
	huart4.Init.OneBitSampling = UART_ONE_BIT_SAMPLE_DISABLE;
	huart4.Init.ClockPrescaler = UART_PRESCALER_DIV1;
	huart4.AdvancedInit.AdvFeatureInit = UART_ADVFEATURE_NO_INIT;
	if (HAL_UART_Init(&huart4) != HAL_OK) {
		Error_Handler();
	}
	if (HAL_UARTEx_SetTxFifoThreshold(&huart4, UART_TXFIFO_THRESHOLD_1_8)
			!= HAL_OK) {
		Error_Handler();
	}
	if (HAL_UARTEx_SetRxFifoThreshold(&huart4, UART_RXFIFO_THRESHOLD_1_8)
			!= HAL_OK) {
		Error_Handler();
	}
	if (HAL_UARTEx_DisableFifoMode(&huart4) != HAL_OK) {
		Error_Handler();
	}

}

static void MX_UART7_Init(void) {

	huart7.Instance = UART7;
	huart7.Init.BaudRate = 115200;
	huart7.Init.WordLength = UART_WORDLENGTH_8B;
	huart7.Init.StopBits = UART_STOPBITS_1;
	huart7.Init.Parity = UART_PARITY_NONE;
	huart7.Init.Mode = UART_MODE_TX_RX;
	huart7.Init.HwFlowCtl = UART_HWCONTROL_NONE;
	huart7.Init.OverSampling = UART_OVERSAMPLING_16;
	huart7.Init.OneBitSampling = UART_ONE_BIT_SAMPLE_DISABLE;
	huart7.Init.ClockPrescaler = UART_PRESCALER_DIV1;
	huart7.AdvancedInit.AdvFeatureInit = UART_ADVFEATURE_NO_INIT;
	if (HAL_UART_Init(&huart7) != HAL_OK) {
		Error_Handler();
	}
	if (HAL_UARTEx_SetTxFifoThreshold(&huart7, UART_TXFIFO_THRESHOLD_1_8)
			!= HAL_OK) {
		Error_Handler();
	}
	if (HAL_UARTEx_SetRxFifoThreshold(&huart7, UART_RXFIFO_THRESHOLD_1_8)
			!= HAL_OK) {
		Error_Handler();
	}
	if (HAL_UARTEx_DisableFifoMode(&huart7) != HAL_OK) {
		Error_Handler();
	}

}

static void MX_USART1_UART_Init(void) {

	huart1.Instance = USART1;
	huart1.Init.BaudRate = 115200;
	huart1.Init.WordLength = UART_WORDLENGTH_8B;
	huart1.Init.StopBits = UART_STOPBITS_1;
	huart1.Init.Parity = UART_PARITY_NONE;
	huart1.Init.Mode = UART_MODE_TX_RX;
	huart1.Init.HwFlowCtl = UART_HWCONTROL_NONE;
	huart1.Init.OverSampling = UART_OVERSAMPLING_16;
	huart1.Init.OneBitSampling = UART_ONE_BIT_SAMPLE_DISABLE;
	huart1.Init.ClockPrescaler = UART_PRESCALER_DIV1;
	huart1.AdvancedInit.AdvFeatureInit = UART_ADVFEATURE_NO_INIT;
	if (HAL_UART_Init(&huart1) != HAL_OK) {
		Error_Handler();
	}
	if (HAL_UARTEx_SetTxFifoThreshold(&huart1, UART_TXFIFO_THRESHOLD_1_8)
			!= HAL_OK) {
		Error_Handler();
	}
	if (HAL_UARTEx_SetRxFifoThreshold(&huart1, UART_RXFIFO_THRESHOLD_1_8)
			!= HAL_OK) {
		Error_Handler();
	}
	if (HAL_UARTEx_DisableFifoMode(&huart1) != HAL_OK) {
		Error_Handler();
	}

}

static void MX_USART2_UART_Init(void) {

	huart2.Instance = USART2;
	huart2.Init.BaudRate = 115200;
	huart2.Init.WordLength = UART_WORDLENGTH_8B;
	huart2.Init.StopBits = UART_STOPBITS_1;
	huart2.Init.Parity = UART_PARITY_NONE;
	huart2.Init.Mode = UART_MODE_TX_RX;
	huart2.Init.HwFlowCtl = UART_HWCONTROL_NONE;
	huart2.Init.OverSampling = UART_OVERSAMPLING_16;
	huart2.Init.OneBitSampling = UART_ONE_BIT_SAMPLE_DISABLE;
	huart2.Init.ClockPrescaler = UART_PRESCALER_DIV1;
	huart2.AdvancedInit.AdvFeatureInit = UART_ADVFEATURE_NO_INIT;
	if (HAL_UART_Init(&huart2) != HAL_OK) {
		Error_Handler();
	}
	if (HAL_UARTEx_SetTxFifoThreshold(&huart2, UART_TXFIFO_THRESHOLD_1_8)
			!= HAL_OK) {
		Error_Handler();
	}
	if (HAL_UARTEx_SetRxFifoThreshold(&huart2, UART_RXFIFO_THRESHOLD_1_8)
			!= HAL_OK) {
		Error_Handler();
	}
	if (HAL_UARTEx_DisableFifoMode(&huart2) != HAL_OK) {
		Error_Handler();
	}

}

static void MX_GPIO_Init(void) {
	GPIO_InitTypeDef GPIO_InitStruct = { 0 };

	/* GPIO Ports Clock Enable */
	__HAL_RCC_GPIOH_CLK_ENABLE();
	__HAL_RCC_GPIOC_CLK_ENABLE();
	__HAL_RCC_GPIOA_CLK_ENABLE();
	__HAL_RCC_GPIOB_CLK_ENABLE();
	__HAL_RCC_GPIOD_CLK_ENABLE();

	/*Configure GPIO pin Output Level */
	HAL_GPIO_WritePin(GPIOC, CE_Pin | SPI1_CS_Pin, GPIO_PIN_RESET);

	/*Configure GPIO pin Output Level */
	HAL_GPIO_WritePin(GPIOB, GPIO_PIN_2 | CSN_Pin | GPIO_PIN_8, GPIO_PIN_RESET);

	/*Configure GPIO pin Output Level */
	HAL_GPIO_WritePin(ICM_INT_GPIO_Port, ICM_INT_Pin, GPIO_PIN_RESET);

	/*Configure GPIO pins : CE_Pin SPI1_CS_Pin */
	GPIO_InitStruct.Pin = CE_Pin | SPI1_CS_Pin;
	GPIO_InitStruct.Mode = GPIO_MODE_OUTPUT_PP;
	GPIO_InitStruct.Pull = GPIO_NOPULL;
	GPIO_InitStruct.Speed = GPIO_SPEED_FREQ_LOW;
	HAL_GPIO_Init(GPIOC, &GPIO_InitStruct);

	/*Configure GPIO pins : PB2 CSN_Pin PB8 */
	GPIO_InitStruct.Pin = GPIO_PIN_2 | CSN_Pin | GPIO_PIN_8;
	GPIO_InitStruct.Mode = GPIO_MODE_OUTPUT_PP;
	GPIO_InitStruct.Pull = GPIO_NOPULL;
	GPIO_InitStruct.Speed = GPIO_SPEED_FREQ_LOW;
	HAL_GPIO_Init(GPIOB, &GPIO_InitStruct);

	/*Configure GPIO pin : ICM_INT_Pin */
	GPIO_InitStruct.Pin = ICM_INT_Pin;
	GPIO_InitStruct.Mode = GPIO_MODE_OUTPUT_PP;
	GPIO_InitStruct.Pull = GPIO_NOPULL;
	GPIO_InitStruct.Speed = GPIO_SPEED_FREQ_LOW;
	HAL_GPIO_Init(ICM_INT_GPIO_Port, &GPIO_InitStruct);

}

void Error_Handler(void) {
	__disable_irq();
	while (1) {
	}
}
